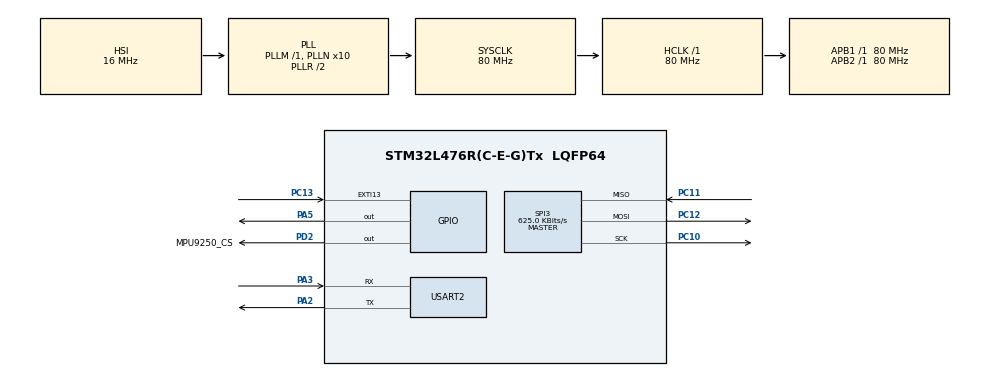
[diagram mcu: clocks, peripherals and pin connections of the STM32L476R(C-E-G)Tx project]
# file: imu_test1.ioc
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Mcu.Family=STM32L4
Mcu.Name=STM32L476R(C-E-G)Tx
Mcu.Package=LQFP64
NVIC.PriorityGroup=NVIC_PRIORITYGROUP_4
PA13\ (JTMS-SWDIO).Mode=Serial_Wire
PA13\ (JTMS-SWDIO).Signal=SYS_JTMS-SWDIO
PA14\ (JTCK-SWCLK).Mode=Serial_Wire
PA14\ (JTCK-SWCLK).Signal=SYS_JTCK-SWCLK
PA2.GPIO_Mode=GPIO_MODE_AF_PP
PA2.GPIO_ModeDefaultPP=GPIO_MODE_AF_PP
PA2.GPIO_PuPd=GPIO_NOPULL
PA2.GPIO_Speed=GPIO_SPEED_FREQ_VERY_HIGH
PA2.Mode=Asynchronous
PA2.Signal=USART2_TX
PA3.GPIO_Mode=GPIO_MODE_AF_PP
PA3.GPIO_ModeDefaultPP=GPIO_MODE_AF_PP
PA3.GPIO_PuPd=GPIO_NOPULL
PA3.GPIO_Speed=GPIO_SPEED_FREQ_VERY_HIGH
PA3.Mode=Asynchronous
PA3.Signal=USART2_RX
PA5.GPIO_ModeDefaultOutputPP=GPIO_MODE_OUTPUT_PP
PA5.GPIO_PuPd=GPIO_NOPULL
PA5.GPIO_Speed=GPIO_SPEED_FREQ_LOW
PA5.PinState=GPIO_PIN_RESET
PA5.Signal=GPIO_Output
PB3\ (JTDO-TRACESWO).Signal=SYS_JTDO-SWO
PB8.Signal=I2C1_SCL
PB9.Signal=I2C1_SDA
PC10.Mode=Full_Duplex_Master
PC10.Signal=SPI3_SCK
PC11.Mode=Full_Duplex_Master
PC11.Signal=SPI3_MISO
PC12.Mode=Full_Duplex_Master
PC12.Signal=SPI3_MOSI
PC13.GPIO_ModeDefaultEXTI=GPIO_MODE_IT_RISING
PC13.GPIO_PuPd=GPIO_NOPULL
PC13.Signal=GPXTI13
PC14-OSC32_IN\ (PC14).Mode=LSE-External-Oscillator
PC14-OSC32_IN\ (PC14).Signal=RCC_OSC32_IN
PC15-OSC32_OUT\ (PC15).Mode=LSE-External-Oscillator
PC15-OSC32_OUT\ (PC15).Signal=RCC_OSC32_OUT
PD2.GPIO_Label=MPU9250_CS
PD2.Signal=GPIO_Output
PH0-OSC_IN\ (PH0).Signal=RCC_OSC_IN
PH1-OSC_OUT\ (PH1).Signal=RCC_OSC_OUT
ProjectManager.HeapSize=0x200
ProjectManager.StackSize=0x400
ProjectManager.TargetToolchain=STM32CubeIDE
RCC.ADCFreq_Value=64000000
RCC.AHBFreq_Value=80000000
RCC.APB1Freq_Value=80000000
RCC.APB1TimFreq_Value=80000000
RCC.APB2Freq_Value=80000000
RCC.APB2TimFreq_Value=80000000
RCC.CortexFreq_Value=80000000
RCC.HCLKFreq_Value=80000000
RCC.HSE_VALUE=8000000
RCC.HSI_VALUE=16000000
RCC.MSI_VALUE=4000000
RCC.PLLN=10
RCC.PLLSourceVirtual=RCC_PLLSOURCE_HSI
RCC.PREFETCH_ENABLE=1
RCC.SYSCLKFreq_VALUE=80000000
RCC.SYSCLKSource=RCC_SYSCLKSOURCE_PLLCLK
RCC.USBFreq_Value=64000000
RCC.VCOOutputFreq_Value=160000000
SPI3.BaudRatePrescaler=SPI_BAUDRATEPRESCALER_128
SPI3.CLKPhase=SPI_PHASE_1EDGE
SPI3.CLKPolarity=SPI_POLARITY_LOW
SPI3.CalculateBaudRate=625.0 KBits/s
SPI3.DataSize=SPI_DATASIZE_8BIT
SPI3.Direction=SPI_DIRECTION_2LINES
SPI3.Mode=SPI_MODE_MASTER
SPI3.NSSPMode=SPI_NSS_PULSE_ENABLE
SPI3.VirtualType=VM_MASTER
USART2.VirtualMode-Asynchronous=VM_ASYNC
board=NUCLEO-L476RG

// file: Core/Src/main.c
/* USER CODE BEGIN Header */
/**
  ******************************************************************************
  * @file           : main.c
  * @brief          : Main program body
  ******************************************************************************
  * @attention
  *
  * <h2><center>&copy; Copyright (c) 2019 STMicroelectronics.
  * All rights reserved.</center></h2>
  *
  * This software component is licensed by ST under BSD 3-Clause license,
  * the "License"; You may not use this file except in compliance with the
  * License. You may obtain a copy of the License at:
  *                        opensource.org/licenses/BSD-3-Clause
  *
  ******************************************************************************
  */
/* USER CODE END Header */

#include "main.h"
#include <stdio.h>

SPI_HandleTypeDef hspi3;

UART_HandleTypeDef huart2;

/* USER CODE BEGIN PV */
typedef struct accelData {
	int16_t x;
	int16_t y;
	int16_t z;
} accelData_t;
/* USER CODE END PV */

void SystemClock_Config(void);
static void MX_GPIO_Init(void);
static void MX_USART2_UART_Init(void);
static void MX_SPI3_Init(void);
/* USER CODE BEGIN PFP */
accelData_t GetAcceleration();
/* USER CODE END PFP */

int main(void)
{
  /* USER CODE BEGIN 1 */
	char 		data[50];
	uint8_t 	rcvByte;
	uint8_t		sendByte;
	accelData_t acceleration;
  /* USER CODE END 1 */

  /* MCU Configuration--------------------------------------------------------*/

  /* Reset of all peripherals, Initializes the Flash interface and the Systick. */
  HAL_Init();

  /* Configure the system clock */
  SystemClock_Config();

  /* Initialize all configured peripherals */
  MX_GPIO_Init();
  MX_USART2_UART_Init();
  MX_SPI3_Init();
  /* USER CODE BEGIN 2 */
  HAL_GPIO_WritePin(MPU9250_CS_GPIO_Port, MPU9250_CS_Pin, GPIO_PIN_SET);
  HAL_Delay(200);
  HAL_GPIO_WritePin(MPU9250_CS_GPIO_Port, MPU9250_CS_Pin, GPIO_PIN_RESET);
  HAL_Delay(10);
  sprintf(data, "Hello world!\n");
  HAL_UART_Transmit(&huart2, data, strlen(data), 1000);
  sendByte = 117 | (0x80);	// register WHO_AM_I read operation
  HAL_SPI_TransmitReceive(&hspi3, &sendByte, &rcvByte, 1, HAL_MAX_DELAY);
  HAL_SPI_TransmitReceive(&hspi3, &sendByte, &rcvByte, 1, HAL_MAX_DELAY);
  sprintf(data, "Who Am I (117) = %#02x\n", rcvByte);
  HAL_UART_Transmit(&huart2, data, strlen(data), 1000);
  HAL_GPIO_WritePin(MPU9250_CS_GPIO_Port, MPU9250_CS_Pin, GPIO_PIN_SET);

  /* USER CODE END 2 */

  /* Infinite loop */
  while (1)
  {

    /* USER CODE BEGIN 3 */
	  acceleration = GetAcceleration();
	  sprintf(data, "x = %10d | y = %10d | z = %10d\n", acceleration.x, acceleration.y, acceleration.z);
	  HAL_UART_Transmit(&huart2, data, strlen(data), 1000);
	  HAL_Delay(200);
  }
  /* USER CODE END 3 */
}

accelData_t GetAcceleration()
{
	accelData_t retVal;
	uint8_t sendByte;
	uint8_t rcvByte;
	HAL_GPIO_WritePin(MPU9250_CS_GPIO_Port, MPU9250_CS_Pin, GPIO_PIN_RESET);
	HAL_Delay(10);
	sendByte = 59 | (0x80);	// 59 to 64 contains accel data
	HAL_SPI_TransmitReceive(&hspi3, &sendByte, &rcvByte, 1, HAL_MAX_DELAY);
	HAL_SPI_TransmitReceive(&hspi3, &sendByte, &rcvByte, 1, HAL_MAX_DELAY);
	retVal.x = (rcvByte) << 8;
	HAL_SPI_TransmitReceive(&hspi3, &sendByte, &rcvByte, 1, HAL_MAX_DELAY);
	retVal.x |= (rcvByte);
	HAL_SPI_TransmitReceive(&hspi3, &sendByte, &rcvByte, 1, HAL_MAX_DELAY);
	retVal.y = (rcvByte) << 8;
	HAL_SPI_TransmitReceive(&hspi3, &sendByte, &rcvByte, 1, HAL_MAX_DELAY);
	retVal.y |= (rcvByte);
	HAL_SPI_TransmitReceive(&hspi3, &sendByte, &rcvByte, 1, HAL_MAX_DELAY);
	retVal.z = (rcvByte) << 8;
	HAL_SPI_TransmitReceive(&hspi3, &sendByte, &rcvByte, 1, HAL_MAX_DELAY);
	retVal.z |= (rcvByte);
	HAL_GPIO_WritePin(MPU9250_CS_GPIO_Port, MPU9250_CS_Pin, GPIO_PIN_SET);
	return retVal;
}

void SystemClock_Config(void)
{
  RCC_OscInitTypeDef RCC_OscInitStruct = {0};
  RCC_ClkInitTypeDef RCC_ClkInitStruct = {0};
  RCC_PeriphCLKInitTypeDef PeriphClkInit = {0};

  /** Initializes the CPU, AHB and APB busses clocks
  */
  RCC_OscInitStruct.OscillatorType = RCC_OSCILLATORTYPE_HSI;
  RCC_OscInitStruct.HSIState = RCC_HSI_ON;
  RCC_OscInitStruct.HSICalibrationValue = RCC_HSICALIBRATION_DEFAULT;
  RCC_OscInitStruct.PLL.PLLState = RCC_PLL_ON;
  RCC_OscInitStruct.PLL.PLLSource = RCC_PLLSOURCE_HSI;
  RCC_OscInitStruct.PLL.PLLM = 1;
  RCC_OscInitStruct.PLL.PLLN = 10;
  RCC_OscInitStruct.PLL.PLLP = RCC_PLLP_DIV7;
  RCC_OscInitStruct.PLL.PLLQ = RCC_PLLQ_DIV2;
  RCC_OscInitStruct.PLL.PLLR = RCC_PLLR_DIV2;
  if (HAL_RCC_OscConfig(&RCC_OscInitStruct) != HAL_OK)
  {
    Error_Handler();
  }
  /** Initializes the CPU, AHB and APB busses clocks
  */
  RCC_ClkInitStruct.ClockType = RCC_CLOCKTYPE_HCLK|RCC_CLOCKTYPE_SYSCLK
                              |RCC_CLOCKTYPE_PCLK1|RCC_CLOCKTYPE_PCLK2;
  RCC_ClkInitStruct.SYSCLKSource = RCC_SYSCLKSOURCE_PLLCLK;
  RCC_ClkInitStruct.AHBCLKDivider = RCC_SYSCLK_DIV1;
  RCC_ClkInitStruct.APB1CLKDivider = RCC_HCLK_DIV1;
  RCC_ClkInitStruct.APB2CLKDivider = RCC_HCLK_DIV1;

  if (HAL_RCC_ClockConfig(&RCC_ClkInitStruct, FLASH_LATENCY_4) != HAL_OK)
  {
    Error_Handler();
  }
  PeriphClkInit.PeriphClockSelection = RCC_PERIPHCLK_USART2;
  PeriphClkInit.Usart2ClockSelection = RCC_USART2CLKSOURCE_PCLK1;
  if (HAL_RCCEx_PeriphCLKConfig(&PeriphClkInit) != HAL_OK)
  {
    Error_Handler();
  }
  /** Configure the main internal regulator output voltage
  */
  if (HAL_PWREx_ControlVoltageScaling(PWR_REGULATOR_VOLTAGE_SCALE1) != HAL_OK)
  {
    Error_Handler();
  }
}

static void MX_SPI3_Init(void)
{

  /* SPI3 parameter configuration*/
  hspi3.Instance = SPI3;
  hspi3.Init.Mode = SPI_MODE_MASTER;
  hspi3.Init.Direction = SPI_DIRECTION_2LINES;
  hspi3.Init.DataSize = SPI_DATASIZE_8BIT;
  hspi3.Init.CLKPolarity = SPI_POLARITY_LOW;
  hspi3.Init.CLKPhase = SPI_PHASE_1EDGE;
  hspi3.Init.NSS = SPI_NSS_SOFT;
  hspi3.Init.BaudRatePrescaler = SPI_BAUDRATEPRESCALER_128;
  hspi3.Init.FirstBit = SPI_FIRSTBIT_MSB;
  hspi3.Init.TIMode = SPI_TIMODE_DISABLE;
  hspi3.Init.CRCCalculation = SPI_CRCCALCULATION_DISABLE;
  hspi3.Init.CRCPolynomial = 7;
  hspi3.Init.CRCLength = SPI_CRC_LENGTH_DATASIZE;
  hspi3.Init.NSSPMode = SPI_NSS_PULSE_ENABLE;
  if (HAL_SPI_Init(&hspi3) != HAL_OK)
  {
    Error_Handler();
  }

}

static void MX_USART2_UART_Init(void)
{

  huart2.Instance = USART2;
  huart2.Init.BaudRate = 115200;
  huart2.Init.WordLength = UART_WORDLENGTH_8B;
  huart2.Init.StopBits = UART_STOPBITS_1;
  huart2.Init.Parity = UART_PARITY_NONE;
  huart2.Init.Mode = UART_MODE_TX_RX;
  huart2.Init.HwFlowCtl = UART_HWCONTROL_NONE;
  huart2.Init.OverSampling = UART_OVERSAMPLING_16;
  huart2.Init.OneBitSampling = UART_ONE_BIT_SAMPLE_DISABLE;
  huart2.AdvancedInit.AdvFeatureInit = UART_ADVFEATURE_NO_INIT;
  if (HAL_UART_Init(&huart2) != HAL_OK)
  {
    Error_Handler();
  }

}

static void MX_GPIO_Init(void)
{
  GPIO_InitTypeDef GPIO_InitStruct = {0};

  /* GPIO Ports Clock Enable */
  __HAL_RCC_GPIOC_CLK_ENABLE();
  __HAL_RCC_GPIOH_CLK_ENABLE();
  __HAL_RCC_GPIOA_CLK_ENABLE();
  __HAL_RCC_GPIOD_CLK_ENABLE();
  __HAL_RCC_GPIOB_CLK_ENABLE();

  /*Configure GPIO pin Output Level */
  HAL_GPIO_WritePin(GPIOA, GPIO_PIN_5, GPIO_PIN_RESET);

  /*Configure GPIO pin Output Level */
  HAL_GPIO_WritePin(MPU9250_CS_GPIO_Port, MPU9250_CS_Pin, GPIO_PIN_RESET);

  /*Configure GPIO pin : PC13 */
  GPIO_InitStruct.Pin = GPIO_PIN_13;
  GPIO_InitStruct.Mode = GPIO_MODE_IT_RISING;
  GPIO_InitStruct.Pull = GPIO_NOPULL;
  HAL_GPIO_Init(GPIOC, &GPIO_InitStruct);

  /*Configure GPIO pin : PA5 */
  GPIO_InitStruct.Pin = GPIO_PIN_5;
  GPIO_InitStruct.Mode = GPIO_MODE_OUTPUT_PP;
  GPIO_InitStruct.Pull = GPIO_NOPULL;
  GPIO_InitStruct.Speed = GPIO_SPEED_FREQ_LOW;
  HAL_GPIO_Init(GPIOA, &GPIO_InitStruct);

  /*Configure GPIO pin : MPU9250_CS_Pin */
  GPIO_InitStruct.Pin = MPU9250_CS_Pin;
  GPIO_InitStruct.Mode = GPIO_MODE_OUTPUT_PP;
  GPIO_InitStruct.Pull = GPIO_NOPULL;
  GPIO_InitStruct.Speed = GPIO_SPEED_FREQ_LOW;
  HAL_GPIO_Init(MPU9250_CS_GPIO_Port, &GPIO_InitStruct);

  /*Configure GPIO pins : PB8 PB9 */
  GPIO_InitStruct.Pin = GPIO_PIN_8|GPIO_PIN_9;
  GPIO_InitStruct.Mode = GPIO_MODE_AF_OD;
  GPIO_InitStruct.Pull = GPIO_PULLUP;
  GPIO_InitStruct.Speed = GPIO_SPEED_FREQ_VERY_HIGH;
  GPIO_InitStruct.Alternate = GPIO_AF4_I2C1;
  HAL_GPIO_Init(GPIOB, &GPIO_InitStruct);

}

void Error_Handler(void)
{
}

/************************ (C) COPYRIGHT STMicroelectronics *****END OF FILE****/
